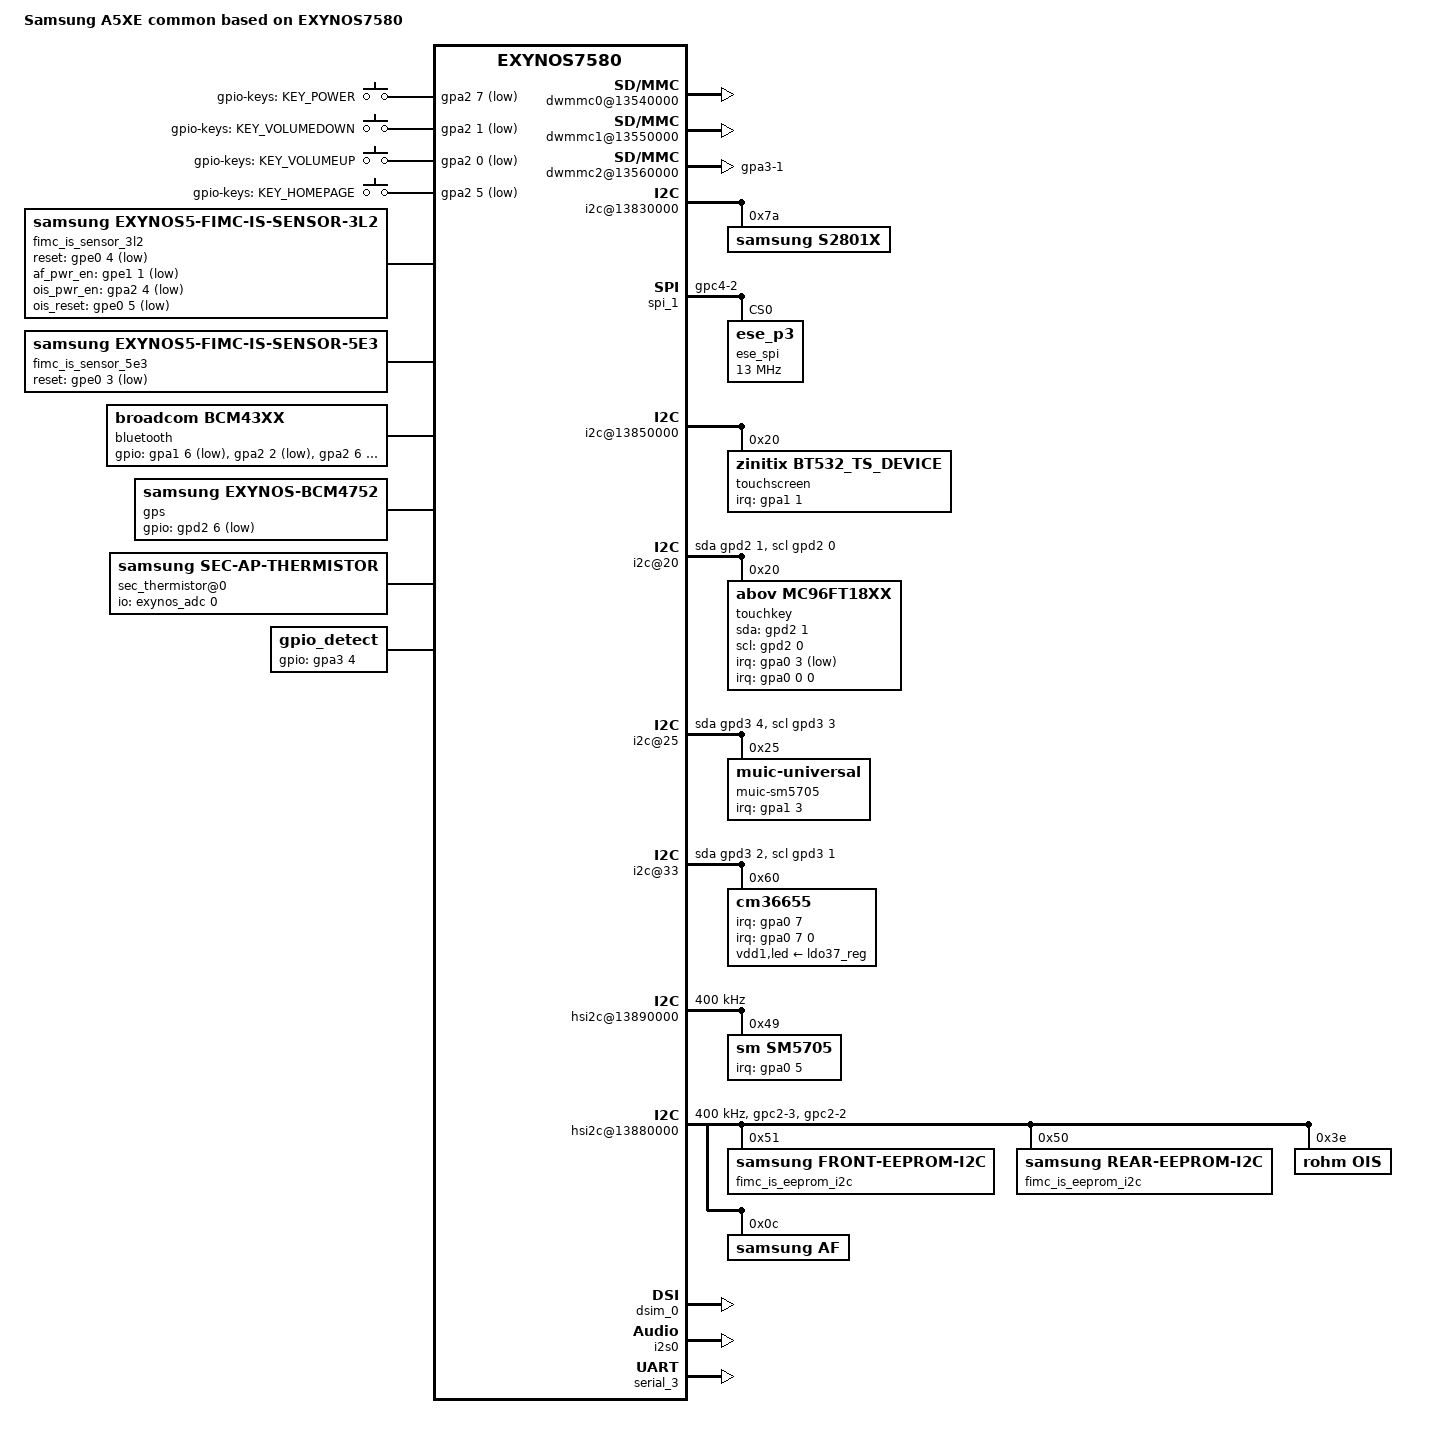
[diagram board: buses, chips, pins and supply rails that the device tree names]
/*
 * SAMSUNG A5XE board device tree source
 *
 * Copyright (c) 2014 Samsung Electronics Co., Ltd.
 *		http://www.samsung.com
 *
 * This program is free software; you can redistribute it and/or modify
 * it under the terms of the GNU General Public License version 2 as
 * published by the Free Software Foundation.
 */

#include "exynos7580.dtsi"

/ {
	model = "Samsung A5XE common based on EXYNOS7580";
	compatible = "samsung,exynos7580-universal7580,r01", "samsung,exynos7580";

	chosen {
		bootargs = "console=ttySAC1,115200n8 ess_setup=0x46000000 pmic_info=0x02";
		linux,initrd-start = <0x42000000>;
		linux,initrd-end = <0x421FFFFF>;
	};

	fixed-rate-clocks {
		oscclk {
			compatible = "samsung,exynos7580-oscclk";
			clock-frequency = <26000000>;
		};
	};

	dwmmc0@13540000 {
		status = "okay";
		num-slots = <1>;
		broken-cd;
		use-smu;
		fixed_volt;
		clock-gate;
		enable-cclk-on-suspend;
		only_once_tune;
		use-fine-tuning;
		ignore-phase = <(1 << 7)>;
		bypass-for-allpass;
		supports-highspeed;
		supports-hs200-mode;
		supports-ddr200-enhanced-strobe;
		supports-poweroff-notification;
		supports-ddr200-mode;
		enable-cache-control;
		use-enable-shift;
		enable-ulp-mode;
		desc-size = <4>;
		qos_int_level = <200000>;
		fifo-depth = <0x40>;
		card-detect-delay = <0>;
		data-timeout = <200>;
		samsung,dw-mshc-ciu-div = <3>;
		samsung,dw-mshc-sdr-timing = <3 0 2 0>;
		samsung,dw-mshc-ddr-timing = <3 0 2 2>;
		samsung,dw-mshc-hs200-timing = <3 0 3 0>;
		samsung,dw-mshc-ddr200-timing = <1 0 2 0>;
		samsung,dw-mshc-ddr200-ulp-timing = <3 0 3 0>;
		samsung,dw-mshc-ddr200-delay-line = <0x28>;
		samsung,dw-mshc-ddr200-tx-delay-line = <0x28>;
		samsung,dw-mshc-txdt-crc-timer-fastlimit = <0x34>;
		samsung,dw-mshc-txdt-crc-timer-initval = <0x38>;
		clk_pin = "gpr0-0";
		clk_addr = "13750000.pinctrl";
		clk_val = <0x2>;
		clk_str_num = <4>;
		num-ref-clks = <10>;
		ciu_clkin = <25 50 50 100 200 100 200 400 400 200>;
		pinctrl-names = "default";
		pinctrl-0 = <&sd0_clk &sd0_cmd &sd0_rdqs &sd0_bus1 &sd0_bus4 &sd0_bus8>;
		slot@0 {
			reg = <0>;
			bus-width = <8>;
		};
	};

	dwmmc1@13550000 {
		status = "okay";
		num-slots = <1>;
		channel = <1>;
		fixed_volt;
		clock-gate;
		enable-cclk-on-suspend;
		/* broken-cd; */
		caps-control;
		supports-highspeed;
		supports-sdr104-mode;
		keep-power-in-suspend;
		pm-ignore-notify;
		cd-type-external;
		use-broken-voltage;
		use-fine-tuning;
		ignore-phase = <(1 << 7)>;
		fifo-depth = <0x40>;
		card-detect-delay = <200>;
		qos_int_level = <468000>;
		samsung,dw-mshc-ciu-div = <3>;
		samsung,dw-mshc-sdr-timing = <3 0 2 1>;
		samsung,dw-mshc-ddr-timing = <3 0 2 1>;
		clk_pin = "gpr2-0";
		clk_addr = "13750000.pinctrl";
		clk_val = <0x2>;
		clk_str_num = <4>;
		num-ref-clks = <8>;
		ciu_clkin = <25 50 50 100 200 100 200 400>;
		pinctrl-names = "default";
		pinctrl-0 = <&sd1_clk &sd1_cmd &sd1_bus1 &sd1_bus4>;
		slot@0 {
			reg = <0>;
			bus-width = <4>;
		};
	};

	dwmmc2@13560000 {
		status = "okay";
		num-slots = <1>;
		supports-highspeed;
		enable-cclk-on-suspend;
		supports-sdr104-mode;
		bypass-smu;
		use-fine-tuning;
		clock-gate;
		fifo-depth = <0x40>;
		card-detect-delay = <400>;
		data-timeout = <200>;
		ignore-phase = <(1 << 7)>;
		bypass-for-allpass;
		desc-size = <4>;
		samsung,dw-mshc-ciu-div = <3>;
		samsung,dw-mshc-sdr-timing = <3 0 2 0>;
		samsung,dw-mshc-ddr-timing = <3 0 2 1>;
		clk_pin = "gpr4-0";
		clk_addr = "13750000.pinctrl";
		clk_val = <0x2>;
		clk_str_num = <4>;
		num-ref-clks = <8>;
		ciu_clkin = <25 50 50 100 200 100 200 400>;
		pinctrl-names = "default", "output";
		pinctrl-0 = <&sd2_clk &sd2_cmd &sd2_bus1 &sd2_bus4 &dwmmc2_cd_ext_irq>;
		pinctrl-1 = <&sd2_clk_output &sd2_cmd_output &sd2_bus1 &sd2_bus4 &dwmmc2_cd_ext_irq>;
		cd-type-gpio;
		gpio-controller;
		sec-sd-slot-type = <2>; /* Hybrid SD slot */
		#gpio-cells = <2>;
		cd-gpio = <&gpa3 1 0xf>;
		slot@0 {
			reg = <0>;
			bus-width = <4>;
			disable-wp;
		};
	};

	gpio_keys{
		compatible = "gpio-keys";
		pinctrl-names = "default";
		pinctrl-0 = <&gpa2_pull_up_univ>;

		button@1 {
			label = "gpio-keys: KEY_POWER";
			interrupt-parent = <&gpa2>;
			linux,code = <116>;
			gpios = <&gpa2 7 0xf>;
			gpio-key,wakeup = <1>;
		};
		button@2 {
			label = "gpio-keys: KEY_VOLUMEDOWN";
			interrupt-parent = <&gpa2>;
			linux,code = <114>;
			gpios = <&gpa2 1 0xf>;
		};
		button@3 {
			label = "gpio-keys: KEY_VOLUMEUP";
			interrupt-parent = <&gpa2>;
			linux,code = <115>;
			gpios = <&gpa2 0 0xf>;
		};
		button@4 {
			label = "gpio-keys: KEY_HOMEPAGE";
			interrupt-parent = <&gpa2>;
			linux,code = <172>;
			gpios = <&gpa2 5 0xf>;
			gpio-key,wakeup = <1>;
		};
	};

	pinctrl@13750000 {
		sd0_clk: sd0-clk {
			samsung,pin-drv = <3>;
		};
		sd0_bus1: sd0-bus-width1 {
			samsung,pin-drv = <3>;
		};
		sd0_bus4: sd0-bus-width4 {
			samsung,pin-drv = <3>;
		};
		sd0_bus8: sd0-bus-width8 {
			samsung,pin-drv = <3>;
		};
		sd1_bus1: sd1-bus-width1 {
			samsung,pin-pud = <3>;
		};
		sd1_bus4: sd1-bus-width4 {
			samsung,pin-pud = <3>;
		};
	};

	pinctrl@139B0000 {
		pmic_irq: pmic-irq {
			samsung,pins = "gpa0-2";
			samsung,pin-pud = <3>;
			samsung,pin-drv = <3>;
		};
		cfg_irq: cfg-irq {
			samsung,pins = "gpa0-3";
			samsung,pin-function = <0xf>;
			samsung,pin-pud = <0>;
			samsung,pin-drv = <0>;
		};
		cfg_input: cfg-input {
			samsung,pins = "gpa0-3";
			samsung,pin-function = <0>;
			samsung,pin-pud = <0>;
			samsung,pin-drv = <0>;
		};
		cod3022_irq: cod3022-irq {
			samsung,pins = "gpa0-4";
			samsung,pin-pud = <3>;
			samsung,pin-drv = <3>;
		};
		if_irq: if-irq {
			samsung,pins = "gpa0-5";
			samsung,pin-pud = <3>;
			samsung,pin-drv = <3>;
		};
		ps_als: ps_als {
			samsung,pins = "gpa0-7";
			samsung,pin-function = <0x0>;
			samsung,pin-pud = <0>;
			samsung,pin-drv = <0>;
		};
		muic_irq: muic-irq {
			samsung,pins = "gpa1-3";
			samsung,pin-pud = <0>;
			samsung,pin-drv = <0>;
		};
		attn_input: attn-input {
			samsung,pins = "gpa1-1";
			samsung,pin-function = <0>;
			samsung,pin-pud = <0>;
			samsung,pin-drv = <0>;
		};
		attn_irq: attn-irq {
			samsung,pins = "gpa1-1";
			samsung,pin-function = <0xf>;
			samsung,pin-pud = <0>;
			samsung,pin-drv = <0>;
		};
		sub_det: sub-det {
			samsung,pins = "gpa1-7";
			samsung,pin-function = <0>;
			samsung,pin-pud = <0>;
			samsung,pin-drv = <0>;
		};
		bhy_int: bhy-int {
			samsung,pins = "gpa3-0";
			samsung,pin-function = <0>;
			samsung,pin-pud = <1>;
			samsung,pin-drv = <0>;
		};
		dwmmc2_cd_ext_irq: dwmmc2_cd_ext_irq {
			samsung,pins = "gpa3-1";
			samsung,pin-function = <0xf>;
			samsung,pin-pud = <0>;
			samsung,pin-drv = <0>;
		};
		gpiodetect_irq: gpiodetect-irq {
			samsung,pins = "gpa3-4";
			samsung,pin-function = <0>;
			samsung,pin-pud = <0>;
			samsung,pin-drv = <0>;
		};
		certify_hall_irq: certify-hall-irq {
			samsung,pins = "gpa3-5";
			samsung,pin-function = <0xf>;
			samsung,pin-pud = <0>;
			samsung,pin-drv = <0>;
		};
		hall_irq: hall_irq {
			samsung,pins = "gpa3-6";
			samsung,pin-function = <0xf>;
			samsung,pin-pud = <0>;
			samsung,pin-drv = <0>;
		};
	};



	i2c@13830000 {
		samsung,i2c-sda-delay = <100>;
		samsung,i2c-max-bus-freq = <400000>;
		status = "okay";
		#address-cells = <1>;
		#size-cells = <0>;
		supports-bus-clear;

		s2801x: s2801x@7a {
			compatible = "samsung,s2801x";
			reg = <0x7a>;
			clocks = <&clock 154>,	/* sclk_audmixer */
				 <&clock 155>,	/* sclk_audmixer_bclk0*/
				 <&clock 156>,	/* sclk_audmixer_bclk1 */
				 <&clock 157>,	/* sclk_audmixer_bclk2 */
				 <&clock 152>,	/* bclk_mi2s */
				 <&clock 149>;	/* dout_audmixer*/

			clock-names = "audmixer_sysclk", "audmixer_bclk0",
					"audmixer_bclk1", "audmixer_bclk2",
					"mi2s_bclk", "audmixer_dout";
			sysreg-reset = <0x110F2000>;
			sysreg-i2c = <0x110F3000>;
			pinctrl-names = "default", "idle", "bt-idle";
			pinctrl-0 = <&i2s_pmic_bus
					&i2s2_codec_clk
					&pcm_bt_bus
					&pcm_bt1_bus>;
			pinctrl-1 = <&i2s_pmic_bus_idle
					&i2s2_codec_clk_idle
					&pcm_bt_bus_idle
					&pcm_bt1_bus_idle>;
			pinctrl-2 = <&i2s_pmic_bus
					&i2s2_codec_clk
					&pcm_bt_bus_idle
					&pcm_bt1_bus_idle>;
			samsung,lpass-subip;
		};
	};

	pinctrl@138D0000 {
		/delete-node/ bt_en;
		ese_cs_func: ese-cs-func {
			samsung,pins ="gpc4-2";
			samsung,pin-function = <1>;
			samsung,pin-pud = <3>;
			samsung,pin-drv = <0>;
		};
	};

	spi_1: spi@13920000 {
		status = "okay";
		#address-cells = <1>;
		#size-cells = <0>;
		pinctrl-names = "default";
		pinctrl-0 = <&spi1_bus &ese_cs_func>;

		ese_spi@0 {
			compatible = "ese_p3";
			reg = <0>;
			spi-max-frequency = <13000000>;

			gpio-controller;
			#gpio-cells = <2>;

			p3-ese_pwr_req = <&gpd1 6 1>;

			controller-data {
				samsung,spi-feedback-delay = <0>;
				samsung,spi-chip-select-mode = <0>;
				cs-gpio = <&gpc4 2 0>;
			};
		};
	};

	i2c@13850000 {
		samsung,i2c-sda-delay = <100>;
		samsung,i2c-max-bus-freq = <400000>;
		status = "okay";
		touchscreen@20 {
			compatible = "zinitix,bt532_ts_device";
			reg = <0x20>;
			pinctrl-names = "on_state", "off_state";
			pinctrl-0 = <&attn_irq>;
			pinctrl-1 = <&attn_input>;
			zinitix,irq_gpio = <&gpa1 1 0>;
			zinitix,gpio_ldo_en;
			zinitix,regulator_avdd = "tsp_avdd";
			//zinitix,regulator_tkled = "KEY_LED_3P3";
			zinitix,x_resolution = <1080>;
			zinitix,y_resolution = <1920>;
			zinitix,page_size = <128>;
			zinitix,orientation = <0>;
			zinitix,chip_name = "ZT7538";
			zinitix,firmware_name = "tsp_zinitix/zt7538_a5x.fw";
			//zinitix,touchkey = "true";
			zinitix,spay = "true";
		};
	};

	i2c@20 {
		compatible = "i2c-gpio";
		gpios = <&gpd2 1 0
				&gpd2 0 0>;
		i2c-gpio,delay-us = <2>;
		#address-cells = <1>;
		#size-cells = <0>;
		status = "okay";
		pinctrl-names = "default","on_i2c","off_i2c";
		pinctrl-0 = <&cfg_i2c>;
		pinctrl-1 = <&cfg_i2c>;
		pinctrl-2 = <&cfg_gpio>;
		touchkey@20 {
			compatible = "abov,mc96ft18xx";
			pinctrl-names = "on_irq","off_irq","sub_det";
			pinctrl-0 = <&cfg_irq>;
			pinctrl-1 = <&cfg_input>;
			pinctrl-2 = <&sub_det>;
			reg = <0x20>;
			interrupts = <0 0 0>;
			interrupt-parent = <&gpa0>;
			abov,sda-gpio = <&gpd2 1 0>;
			abov,scl-gpio = <&gpd2 0 0>;
			abov,irq-gpio = <&gpa0 3 1>;
			abov,sub-det = <&gpa1 7 0>;
			abov,fw_path = "abov/abov_a5.fw";
			abov,boot-on-ldo = "true";
		};
	};

	i2c@25 {
		compatible = "i2c-gpio";
		gpios = <&gpd3 4 0
			&gpd3 3 0>;
		i2c-gpio,delay-us = <5>;
		#address-cells = <1>;
		#size-cells = <0>;
		status = "okay";

		muic-sm5705@25 {
			compatible = "muic-universal";
			reg = <0x25>;
			pinctrl-names = "default";
			pinctrl-0 = <&muic_irq>;
			muic-universal,chip_name = "sm,sm5705";
			muic-universal,irq-gpio = <&gpa1 3 0>;
			muic-universal,wakeup;
		};
	};

	muic {
		status = "okay";
		muic,support-list = "+OTG:GND",
					"-MHL:1K",
					"-VZW Accessory:28.7K",
					"-VZW Incompatible:34K",
					"-Smartdock:40.2K",
					"+HMT:49.9K",
					"-Audiodock:64.9K",
					"-USB LANHUB:80.07K",
					"+Charging Cable:102K",
					"-Universal Multimedia dock:121K",
					"+Jig USB Off:255K",
					"+Jig USB On:301K",
					"+Deskdock:365K",
					"+TYPE2 Charger:442K",
					"+Jig UART Off:523K",
					"+Jig UART On:619K",
					"+TA:OPEN",
					"+USB:OPEN",
					"+CDP:OPEN",
					"+Undefined Charging:XXX";
	};

	i2c@33 {
		compatible = "i2c-gpio";
		gpios = <&gpd3 2 0 	/* sda */
			&gpd3 1 0>;	/* scl */

		pinctrl-names = "default";
		pinctrl-0 = <&optical>;
		samsung,i2c-sda-delay = <100>;
		samsung,i2c-max-bus-freq = <400000>;
		#address-cells = <1>;
		#size-cells = <0>;
		status = "okay";

		cm36655@60 {
			compatible = "cm36655";
			reg = <0x60>;
			pinctrl-names = "dafault";
			pinctrl-0 = <&ps_als &leden_gpio>;
			vdd1-supply = <&ldo37_reg>;
			interrupt-parent = <&gpa0>;
			interrupts = <7 0 0>;
			cm36655,led-supply = <&ldo37_reg>;
			cm36655,irq_gpio = <&gpa0 7 0x00>;
			cm36655,default_hi_thd = <17>;
			cm36655,default_low_thd = <13>;
			cm36655,cancel_hi_thd = <10>;
			cm36655,cancel_low_thd = <7>;
			cm36655,trim = <0x0003>;
		};
	};



	but_zones: but_zones {
		#list-but-cells = <3>;
	};

	pinctrl@139C0000 {
		fled_flash_sleep: fled-flash-sleep {
			samsung,pins = "gpe0-2", "gpe0-1";
			samsung,pin-function = <2>;
			samsung,pin-pud = <1>;
			samsung,pin-drv = <3>;
		};
		fled_flash_active: fled-flash-active {
			samsung,pins = "gpe0-2", "gpe0-1";
			samsung,pin-function = <1>;
			samsung,pin-pud = <1>;
			samsung,pin-drv = <0>;
		};
	};

	hsi2c@13890000 {
		status = "okay";
		clock-frequency = <400000>;

		sm5705@49 {
			status = "okay";
			compatible = "sm,sm5705";
			reg = <0x49>;
			pinctrl-names = "default","fled_default","fled_sleep";
			pinctrl-0 = <&if_irq &chg_en>;
			pinctrl-1 = <&fled_flash_active &if_irq &chg_en>;
			pinctrl-2 = <&fled_flash_sleep &if_irq &chg_en>;
			sm5705,irq-gpio = <&gpa0 5 0>;
			sm5705,wakeup;

			flash {
				status = "okay";
				led1 {
					ledname = "leds-sm5705-fled0";
					id = <0>;
					flash-mode-current-mA = <1000>;
					torch-mode-current-mA = <150>;
					used-gpio-control = <1>;
					flash-en-gpio = <&gpe0 2 0x00>;
					torch-en-gpio = <&gpe0 1 0x00>;
				};

				led2 {
					ledname = "leds-sm5705-fled1";
					id = <1>;
					flash-mode-current-mA = <0>;
					torch-mode-current-mA = <0>;
					used-gpio-control = <0>;
				};
			};
		};
	};

	pinctrl@139C0000 {
		hs_i2c1_bus_off: hs-i2c1-bus-off {
			samsung,pins = "gpc2-3", "gpc2-2";
			samsung,pin-function = <2>;
			samsung,pin-pud = <0>;
			samsung,pin-drv = <0>;
		};
	};

	hsi2c@13880000 {
		status = "okay";
		clock-frequency = <400000>;
		pinctrl-names = "default";
		pinctrl-0 = <&hs_i2c1_bus_off>;
		fimc_is_eeprom_i2c@51{
			compatible = "samsung,front-eeprom-i2c";
			reg = <0x51>;
			use_i2c_pinctrl;
			fimc_is_front_eeprom_pinname = "139c0000.pinctrl"; /* it must be lowercase letters */
			fimc_is_front_eeprom_sda = "gpc2-2";
			fimc_is_front_eeprom_scl = "gpc2-3";
			pinfunc_on = <2>;
			pinfunc_off = <0>;
		};

		fimc_is_eeprom_i2c@50 {
			compatible = "samsung,rear-eeprom-i2c";
			reg = <0x50>;
			use_i2c_pinctrl;
			fimc_is_rear_eeprom_pinname = "139c0000.pinctrl"; /* it must be lowercase letters */
			fimc_is_rear_eeprom_sda = "gpc2-2";
			fimc_is_rear_eeprom_scl = "gpc2-3";
			pinfunc_on = <2>;
			pinfunc_off = <0>;
		};

		ois@3E{
			compatible = "rohm,ois";
			reg = <0x3E>;
			use_i2c_pinctrl;
			use_reload_ois_fw; /* download ois firmware everytime */
			fimc_is_ois_pinname = "139c0000.pinctrl"; /* it must be lowercase letters */
			fimc_is_ois_sda = "gpc2-2";
			fimc_is_ois_scl = "gpc2-3";
			fimc_is_ois_reset = "gpe0-5";
			pinfunc_on = <2>;
			pinfunc_off = <0>;
		};

		af@0c{
			compatible = "samsung,af";
			reg = <0x0c>;
			use_i2c_pinctrl;
			fimc_is_af_pinname = "139c0000.pinctrl"; /* it must be lowercase letters */
			fimc_is_af_sda = "gpc2-2";
			fimc_is_af_scl = "gpc2-3";
			pinfunc_on = <2>;
			pinfunc_off = <0>;
		};
	};

	fimc_is_sensor_3l2: fimc-is_sensor_3l2@0 {
		compatible = "samsung,exynos5-fimc-is-sensor-3l2";

		pinctrl-names = "pin0", "pin1";
		pinctrl-0 = <&fimc_is_mclk0_fn &fimc_is_i2c0 &fimc_is_i2c1>; /* rear on */
		pinctrl-1 = <&fimc_is_mclk0_in>; /* rear off */

		position = <0>; /* Rear:0. Front:1 */
		id = <0>; /* bns_id */
		mclk_ch = <0>;
		sensor_i2c_ch = <0>; /* I2C 0 */
		sensor_i2c_addr = <0x5A>;

		gpio_reset = <&gpe0 4 0x1>; /* sensor reset */
		gpio_af_pwr_en = <&gpe1 1 0x1>; /* af power en */
		gpio_ois_pwr_en = <&gpa2 4 0x1>; /* ois power en */
		gpio_ois_reset = <&gpe0 5 0x1>; /* ois reset */
		status = "okay";

		af {
			product_name = <12>; /* AK7371 */
			i2c_addr = <0x18>;
			i2c_ch = <1>; /* I2C 1 */
		};

		flash {
			product_name = <11>; /* GPIO */
			flash_first_gpio = <2>;
			flash_second_gpio = <1>;
		};

		ois {
			product_name = <2>; /* BU24219 */
			i2c_addr = <0x7C>; /*0x3E << 1 : 8bit */
			i2c_ch = <1>; /* I2C 1 */
		};
	};

	fimc_is_sensor_5e3: fimc-is_sensor_5e3@0 {
		compatible = "samsung,exynos5-fimc-is-sensor-5e3";

		pinctrl-names = "pin0", "pin1";
		pinctrl-0 = <&fimc_is_mclk1_fn &fimc_is_i2c1>; /* front on */
		pinctrl-1 = <&fimc_is_mclk1_in>; /* front off */

		position = <1>; /* Rear:0. Front:1 */
		id = <1>; /* bns_id */
		mclk_ch = <1>;
		sensor_i2c_ch = <1>;
		sensor_i2c_addr = <0x0>;

		gpio_reset = <&gpe0 3 0x1>;
		status = "okay";
	};


	fimc_is_sensor0: fimc_is_sensor@144a0000 {
		scenario = <0>;
		id = <0>;
		mclk_ch = <0>;
		csi_ch = <0>;
		flite_ch = <0>;
		i2c_ch = <0>;
		i2c_addr = <0x0>;
		is_bns = <1>;
		status = "okay";
	};

	fimc_is_sensor1: fimc_is_sensor@144b0000 {
		scenario = <0>;
		id = <1>;
		mclk_ch = <1>;
		csi_ch = <1>;
		flite_ch = <1>;
		i2c_ch = <1>;
		i2c_addr = <0x0>;
		is_bns = <0>;
		status = "okay";
	};

	fimc_is@14400000 {
		rear_sensor_id = <8>; /* SENSOR_NAME_S5K3L2 */
		front_sensor_id = <17>; /* SENSOR_NAME_S5K5E3 */
		use_module_check;
		use_ois_hsi2c;
		use_ois;

		total_camera_num = <2>;
		camera_info0 {				// 0 : rear
			isp = <0>;			/* 0 : INT , 1 : EXT , 2 : SOC */
			cal_memory = <2>;		/* 0 : N , 1 : FROM , 2 : EEPROM , 3 : OTP  */
			read_version = <0>;		/* 0 : SYSFS , 1 : CAMON */
			core_voltage = <0>;		/* 0 : N , 1 : Y  */
			upgrade = <0>;			/* 0 : N , 1 : SYSFS , 2 : CAMON */
			companion = <0>;		/* 0 : N , 1 : Y  */
			ois = <1>;				/* 0 : N , 1 : Y  */
		};
		camera_info1 {				// 1 : front
			isp = <0>;			/* 0 : INT , 1 : EXT , 2 : SOC */
			cal_memory = <2>;		/* 0 : N , 1 : FROM , 2 : EEPROM , 3 : OTP  */
			read_version = <0>;		/* 0 : SYSFS , 1 : CAMON */
			core_voltage = <0>;		/* 0 : N , 1 : Y  */
			upgrade = <0>;			/* 0 : N , 1 : SYSFS , 2 : CAMON */
			companion = <0>;		/* 0 : N , 1 : Y  */
			ois = <0>;			/* 0 : N , 1 : Y  */
		};

		#define DVFS_INT_L0 400000
		#define DVFS_INT_L1 334000
		#define DVFS_INT_L2 267000
		#define DVFS_INT_L3 200000
		#define DVFS_INT_L4 160000
		#define DVFS_INT_L5 134000
		#define DVFS_INT_L6 111000
		#define DVFS_INT_L7 100000

		#define DVFS_CAM_L0 530000
		#define DVFS_CAM_L1 430000
		#define DVFS_CAM_L2 400000
		#define DVFS_CAM_L3 334000
		#define DVFS_CAM_L4 267000
		#define DVFS_CAM_L5 200000

		#define DVFS_MIF_L0 825000
		#define DVFS_MIF_L1 728000
		#define DVFS_MIF_L2 667000
		#define DVFS_MIF_L3 559000
		#define DVFS_MIF_L4 416000
		#define DVFS_MIF_L5 338000
		#define DVFS_MIF_L6 273000
		#define DVFS_MIF_L7 200000

		fimc_is_dvfs {
			default_int = <DVFS_INT_L0>;
			default_cam = <DVFS_CAM_L0>;
			default_mif = <DVFS_MIF_L0>;
			default_i2c = <0>;

			front_preview_int = <DVFS_INT_L3>;
			front_preview_cam = <DVFS_CAM_L4>;
			front_preview_mif = <DVFS_MIF_L3>;
			front_preview_i2c = <0>;

			front_capture_int = <DVFS_INT_L3>;
			front_capture_cam = <DVFS_CAM_L4>;
			front_capture_mif = <DVFS_MIF_L3>;
			front_capture_i2c = <0>;

			front_video_int = <DVFS_INT_L3>;
			front_video_cam = <DVFS_CAM_L4>;
			front_video_mif = <DVFS_MIF_L3>;
			front_video_i2c = <0>;

			front_video_whd_int = <DVFS_INT_L3>;
			front_video_whd_cam = <DVFS_CAM_L4>;
			front_video_whd_mif = <DVFS_MIF_L3>;
			front_video_whd_i2c = <0>;

			front_video_capture_int = <DVFS_INT_L3>;
			front_video_capture_cam = <DVFS_CAM_L4>;
			front_video_capture_mif = <DVFS_MIF_L3>;
			front_video_capture_i2c = <0>;

			front_video_whd_capture_int = <DVFS_INT_L0>;
			front_video_whd_capture_cam = <DVFS_CAM_L0>;
			front_video_whd_capture_mif = <DVFS_MIF_L0>;
			front_video_whd_capture_i2c = <0>;

			front_vt1_int = <DVFS_INT_L3>;
			front_vt1_cam = <DVFS_CAM_L4>;
			front_vt1_mif = <DVFS_MIF_L3>;
			front_vt1_i2c = <0>;

			front_vt2_int = <DVFS_INT_L3>;
			front_vt2_cam = <DVFS_CAM_L4>;
			front_vt2_mif = <DVFS_MIF_L3>;
			front_vt2_i2c = <0>;

			rear_preview_fhd_int = <DVFS_INT_L3>;
			rear_preview_fhd_cam = <DVFS_CAM_L2>;
			rear_preview_fhd_mif = <DVFS_MIF_L2>;
			rear_preview_fhd_i2c = <0>;

			rear_preview_whd_int = <DVFS_INT_L0>;
			rear_preview_whd_cam = <DVFS_CAM_L0>;
			rear_preview_whd_mif = <DVFS_MIF_L0>;
			rear_preview_whd_i2c = <0>;

			rear_preview_uhd_int = <DVFS_INT_L0>;
			rear_preview_uhd_cam = <DVFS_CAM_L0>;
			rear_preview_uhd_mif = <DVFS_MIF_L0>;
			rear_preview_uhd_i2c = <0>;

			rear_capture_int = <DVFS_INT_L3>;
			rear_capture_cam = <DVFS_CAM_L2>;
			rear_capture_mif = <DVFS_MIF_L2>;
			rear_capture_i2c = <0>;

			rear_video_fhd_int = <DVFS_INT_L3>;
			rear_video_fhd_cam = <DVFS_CAM_L2>;
			rear_video_fhd_mif = <DVFS_MIF_L2>;
			rear_video_fhd_i2c = <0>;

			rear_video_uhd_int = <DVFS_INT_L0>;
			rear_video_uhd_cam = <DVFS_CAM_L0>;
			rear_video_uhd_mif = <DVFS_MIF_L0>;
			rear_video_uhd_i2c = <0>;

			rear_video_fhd_capture_int = <DVFS_INT_L3>;
			rear_video_fhd_capture_cam = <DVFS_CAM_L2>;
			rear_video_fhd_capture_mif = <DVFS_MIF_L2>;
			rear_video_fhd_capture_i2c = <0>;

			rear_video_uhd_capture_int = <DVFS_INT_L0>;
			rear_video_uhd_capture_cam = <DVFS_CAM_L0>;
			rear_video_uhd_capture_mif = <DVFS_MIF_L0>;
			rear_video_uhd_capture_i2c = <0>;

			dual_preview_int = <DVFS_INT_L0>;
			dual_preview_cam = <DVFS_CAM_L0>;
			dual_preview_mif = <DVFS_MIF_L0>;
			dual_preview_i2c = <0>;

			dual_capture_int = <DVFS_INT_L0>;
			dual_capture_cam = <DVFS_CAM_L0>;
			dual_capture_mif = <DVFS_MIF_L0>;
			dual_capture_i2c = <0>;

			dual_video_int = <DVFS_INT_L0>;
			dual_video_cam = <DVFS_CAM_L0>;
			dual_video_mif = <DVFS_MIF_L0>;
			dual_video_i2c = <0>;

			dual_video_capture_int = <DVFS_INT_L0>;
			dual_video_capture_cam = <DVFS_CAM_L0>;
			dual_video_capture_mif = <DVFS_MIF_L0>;
			dual_video_capture_i2c = <0>;

			preview_high_speed_fps_int = <DVFS_INT_L0>;
			preview_high_speed_fps_cam = <DVFS_CAM_L0>;
			preview_high_speed_fps_mif = <DVFS_MIF_L0>;
			preview_high_speed_fps_i2c = <0>;

			video_high_speed_60fps_int = <DVFS_INT_L3>;
			video_high_speed_60fps_cam = <DVFS_CAM_L2>;
			video_high_speed_60fps_mif = <DVFS_MIF_L2>;
			video_high_speed_60fps_i2c = <0>;

			video_high_speed_120fps_int = <DVFS_INT_L3>;
			video_high_speed_120fps_cam = <DVFS_CAM_L4>;
			video_high_speed_120fps_mif = <DVFS_MIF_L3>;
			video_high_speed_120fps_i2c = <0>;

			max_int = <DVFS_INT_L0>;
			max_cam = <DVFS_CAM_L0>;
			max_mif = <DVFS_MIF_L0>;
			max_i2c = <0>;
		};
	};


	ion {
		compatible = "samsung,exynos5430-ion";
	};

	pinctrl@139C0000 {
		disp_pcd: disp_pcd {
			samsung,pins = "gpd2-4";
			samsung,pin-function = <0xf>;
		};
		disp_pcd_off: disp_pcd_off {
			samsung,pins = "gpd2-4";
			samsung,pin-function = <1>;
			samsung,pin-val = <0>;
		};
	};

	decon_fb@14830000 {
		/* XEINT7, GPIO & pin control */
		gpios = <&gpd0 7 0xf>;
		psr_mode = <2>;		/* 0: video mode, 1: DP command mode, 2: MIPI command mode */
		disp-pll-clk = <142000000>;
		/* gpio_err = <&gpa3 7 0x2>; */
		gpio_pcd = <&gpd2 4 0x1>;
		/* gpio_det = <&gpa0 6 0x1>; */
		/* gpio_id = <&gpa3 2 0>; */
		status = "okay";
	};

	dsim_0: dsim@14800000 {
		lcd_info = <&s6e3fa3>;
		decon_board = <&decon_board_list>;
		status = "okay";
	};

	decon_board_list: decon_board_list {
		dsim_set_panel_power_enable {
			type = "regulator,enable", "regulator,enable", "delay,usleep", "pinctrl,turnon_tes";
			delay = <10000 11000>;
			regulator = "LCD_1P8", "LCD_3P0";
		};
		dsim_set_panel_power_disable {
			type = "pinctrl,turnoff_tes", "gpio,low", "regulator,disable", "regulator,disable";
			gpios = <&gpd1 3 0x1>;
			regulator = "LCD_3P0", "LCD_1P8";
		};
		dsim_reset_panel {
			type = "gpio,high", "delay,usleep", "gpio,low", "delay,usleep", "gpio,high", "delay,usleep";
			gpios = <&gpd1 3 0x1>, <&gpd1 3 0x1>, <&gpd1 3 0x1>;
			delay = <5000 6000>, <5000 6000>, <10000 11000>;
		};
	};

	pinctrl@139C0000 {
		disp_pcd: disp_pcd {
			samsung,pins = "gpd2-4";
			samsung,pin-function = <0xf>;
		};
		disp_pcd_off: disp_pcd_off {
			samsung,pins = "gpd2-4";
			samsung,pin-function = <1>;
			samsung,pin-val = <0>;
		};
	};

	s6e3fa3: s6e3fa3_fhd {
		mode = <2>;
		resolution = <1080 1920>;
		size = <65 115>;
		timing,refresh = <60>;
		timing,h-porch = <1 1 1>;
		timing,v-porch = <12 1 1>;
		timing,dsi-hs-clk = <1024>;
		timing,dsi-escape-clk = <16>;
		mic = <0>;

		pinctrl-names = "off", "on";
		pinctrl-0 = <&disp_pcd_off>;
		pinctrl-1 = <&disp_pcd>;
	};

	i2s0: i2s@11040000 {
		status = "okay";
	};

	audio_cp_dummy: cp_dummy {
		compatible = "samsung,cp_dummy";
		status = "okay";
	};

	audio_bt_dummy: bt_dummy {
		compatible = "samsung,bt_dummy";
		status = "okay";
	};

	audio_fm_dummy: fm_dummy {
		compatible = "samsung,fm_dummy";
		status = "okay";
	};

	audio_codec_dummy: dummy-codec {
		compatible = "samsung,dummy-codec";
		status = "okay";
	};

	sound {
		compatible = "samsung,universal7580-cod3022x";
		samsung,audio-cpu = <&i2s0	/* primary */
					&i2s0	/* secondary */
					&audio_cp_dummy
					&audio_bt_dummy
					&audio_fm_dummy
					&eax
					&eax>;
		samsung,audio-codec = <&audio_codec_cod3022x
					&audio_codec_cod3022x
					&audio_codec_cod3022x
					&audio_codec_dummy
					&audio_codec_cod3022x
					&audio_codec_cod3022x
					&audio_codec_cod3022x>;
		samsung,auxdev = <&s2801x>;
		clocks = <&clock 151>;		 /* sclk_i2s */
		clock-names = "codec_bclk";
		mic-bias-mode = <1 2 1>;
		pinctrl-names = "default";
		status = "okay";
	};

	usb_notifier {
		compatible = "samsung,usb-notifier";
	};

	sec_vib {
		compatible = "sec_vib";
		sec_vib_pdata {
			status = "okay";
			sec_vib,max_timeout = <10000>;
			sec_vib,regulator = "VDD_MOTOR_3P3";
		};
	};

	serial_2: uart@13820000 {
		status = "disabled";
	};

	serial_3: uart@11060000 {
		/* Enable AUD-UART for Bluetooth */
		pinctrl-0 = <&uart_bt_active &uart_bt_output_sleep &uart_bt_input_sleep>;
		status = "okay";
	};

	pinctrl@139B0000 {
		bt_enable: bt_enable {
			samsung,pins = "gpa1-6";
			samsung,pin-function = <1>;
			samsung,pin-pud = <0>;
		};
	};

	bluetooth {
		compatible = "broadcom,bcm43xx";
		gpios = <&gpa1 6 0x1	/*BT_EN*/
				&gpa2 2 0x1	/*BT_WAKE*/
				&gpa2 6 0xF	/*BT_HOST_WAKE*/ >;
		pinctrl-names = "default";
		pinctrl-0=<&bt_hostwake &bt_btwake &bt_enable>;
		status = "okay";
	};

	hall {
		compatible = "hall";
		pinctrl-names = "default";
		pinctrl-0 = <&hall_irq>;
		hall,gpio_flip_cover = <&gpa3 6 0x0>;
		status = "okay";
	};

	certify_hall {
		status = "okay";
		compatible = "certify_hall";
		pinctrl-names = "default";
		pinctrl-0 = <&certify_hall_irq>;
		certify_hall,gpio_certify_cover = <&gpa3 5 0x0>;
	};

	input_booster {
		status = "okay";
		compatible = "input_booster";
		#address-cells = <1>;
		#size-cells = <0>;

		booster_key@1 {
			input_booster,label = "KEY";
			input_booster,type = <0>;	/* BOOSTER_DEVICE_KEY */

			input_booster,levels = <1>;

			/* Frequency table */
			/* for level	:	1_Head */
			input_booster,cpu_freqs = <1200000>;
			input_booster,hmp_boost = <0>;
			input_booster,kfc_freqs = <1200000>;
			input_booster,mif_freqs = <0>;
			input_booster,int_freqs = <0>;

			/* Time table */
			input_booster,head_times = <500>;
			input_booster,tail_times = <500>;
			input_booster,phase_times = <0>;
		};
		booster_key@2 {
			input_booster,label = "TOUCHKEY";
			input_booster,type = <1>;	/* BOOSTER_DEVICE_TOUCHKEY */

			input_booster,levels = <1>;

			/* Frequency table */
			/* for level	:	1_Head */
			input_booster,cpu_freqs = <1200000>;
			input_booster,hmp_boost = <0>;
			input_booster,kfc_freqs = <1200000>;
			input_booster,mif_freqs = <0>;
			input_booster,int_freqs = <0>;

			/* Time table */
			input_booster,head_times = <0>;
			input_booster,tail_times = <200>;
			input_booster,phase_times = <0>;
		};
		booster_key@3 {
			input_booster,label = "TOUCH";
			input_booster,type = <2>;	/* BOOSTER_DEVICE_TOUCH */

			input_booster,levels = <1 2 3>;

			/* Frequency table */
			/* for level	:	1_Head, 2_Head, 2_Tail */
			input_booster,cpu_freqs = <1200000 1200000 1000000>;
			input_booster,hmp_boost = <0 0 0>;
			input_booster,kfc_freqs = <1200000 1200000 1000000>;
			input_booster,mif_freqs = <0 0 0>;
			input_booster,int_freqs = <0 0 0>;

			/* Time table */
			input_booster,head_times = <200 200 0>;
			input_booster,tail_times = <300 300 0>;
			input_booster,phase_times = <0 0 0>;
		};
		booster_key@4 { // Input Booster +
			input_booster,label = "MULTITOUCH";
			input_booster,type = <3>;	/* BOOSTER_DEVICE_MULTITOUCH */

			input_booster,levels = <1 2>;

			/* Frequency table */
			/* for level	:	1_Head 2_Tail*/
			input_booster,cpu_freqs = <1400000 1000000>;
			input_booster,hmp_boost = <0 0>;
			input_booster,kfc_freqs = <1400000 1000000>;
			input_booster,mif_freqs = <0 0>;
			input_booster,int_freqs = <0 0>;

			/* Time table */
			input_booster,head_times = <1000 1000>;
			input_booster,tail_times = <500 500>;
			input_booster,phase_times = <0 0>;
		};
		booster_key@5 {
			input_booster,label = "KEYBOARD";
			input_booster,type = <4>;	/* BOOSTER_DEVICE_KEYBOARD */

			input_booster,levels = <1 2>;

			/* Frequency table */
			/* for level	:	1_Head 2_Tail*/
			input_booster,cpu_freqs = <1200000 1200000>;
			input_booster,hmp_boost = <0 0>;
			input_booster,kfc_freqs = <1200000 1200000>;
			input_booster,mif_freqs = <0 0>;
			input_booster,int_freqs = <0 0>;

			/* Time table */
			input_booster,head_times = <130 130>;
			input_booster,tail_times = <0 0>;
			input_booster,phase_times = <0 0>;
		};
		booster_key@6 {
			input_booster,label = "MOUSE";
			input_booster,type = <5>;	/* BOOSTER_DEVICE_MOUSE */

			input_booster,levels = <1 2>;

			/* Frequency table */
			/* for level	:	1_Head 2_Tail*/
			input_booster,cpu_freqs = <1200000 1000000>;
			input_booster,hmp_boost = <0 0>;
			input_booster,kfc_freqs = <1200000 1000000>;
			input_booster,mif_freqs = <0 0>;
			input_booster,int_freqs = <0 0>;

			/* Time table */
			input_booster,head_times = <130 130>;
			input_booster,tail_times = <500 500>;
			input_booster,phase_times = <0 0>;
		};
		booster_key@7 {
			input_booster,label = "MOUSE WHEEL";
			input_booster,type = <6>;	/* BOOSTER_DEVICE_MOUSE */

			input_booster,levels = <1 2>;

			/* Frequency table */
			/* for level	:	1_Head 2_Tail*/
			input_booster,cpu_freqs = <1200000 0>;
			input_booster,hmp_boost = <0 0>;
			input_booster,kfc_freqs = <1200000 0>;
			input_booster,mif_freqs = <0 0>;
			input_booster,int_freqs = <0 0>;

			/* Time table */
			input_booster,head_times = <130 0>;
			input_booster,tail_times = <0 0>;
			input_booster,phase_times = <0 0>;
		};
		booster_key@8 {
			input_booster,label = "PEN & HOVER";
			input_booster,type = <7>;	/* BOOSTER_DEVICE_PEN & HOVER */

			input_booster,levels = <1 2>;

			/* Frequency table */
			/* for level	:	1_Head 2_Tail*/
			input_booster,cpu_freqs = <1200000 1000000>;
			input_booster,hmp_boost = <0 0>;
			input_booster,kfc_freqs = <1200000 1000000>;
			input_booster,mif_freqs = <0 0>;
			input_booster,int_freqs = <0 0>;

			/* Time table */
			input_booster,head_times = <130 130>;
			input_booster,tail_times = <500 500>;
			input_booster,phase_times = <0 0>;
		};
		booster_key@9 {
			input_booster,label = "GAMEPAD";
			input_booster,type = <8>;	/* BOOSTER_DEVICE_GAMEPAD */

			input_booster,levels = <1 2>;

			/* Frequency table */
			/* for level	:	1_Head 2_Tail*/
			input_booster,cpu_freqs = <1400000 1000000>;
			input_booster,hmp_boost = <0 0>;
			input_booster,kfc_freqs = <1400000 1000000>;
			input_booster,mif_freqs = <0 0>;
			input_booster,int_freqs = <0 0>;

			/* Time table */
			input_booster,head_times = <130 130>;
			input_booster,tail_times = <500 500>;
			input_booster,phase_times = <0 0>;
		}; // Input Booster -
		/* If you need to add new key type, add it this position */
	};


	uart@13800000 {
		pinctrl-0 = <&uart0_rts &uart0_cts &uart0_tx &uart0_rx>;
	};

	gps {
		compatible = "samsung,exynos-bcm4752";
		gpios = <&gpd2 6 0x1>;
		status = "okay";
	};

	argos {
		compatible = "samsung,argos";
		#address-cells = <1>;
		/*  The device number should be assigned for each device, e.g. "boot_device@1" and "boot_device@2".
		    Duplicated number is not allowed. Please refer the below example. */

		/* Table Format should be
		 * <Throughput(Mbps) ARM_min ARM_max KFC_min KFC_max MIF INT Task IRQ>
		 * ARM_min : Big Core's minimum frequency lock. 0 means not set,
		 * ARM_max : Big Core's maximum frequency lock. 0 means not set,
		 * KFC_min : Little Core's minimum frequency lock. 0 means not set,
		 * KFC_max : Little Core's maximum frequency lock. 0 means not set,
		 * MIF : MIF frequency lock. 0 means not set,
		 * INT : INT frequency lock. 0 means not set,
		 * Task : 1 - Set task affinity lock.
		 *        0 - Not set or unlock,
		 *              Task affinity should be predefined driver's code.
		 * IRQ : 1 - Set irq affinity lock.
		 *       0 - Not set or unlock,
		 *              Task affinity should be predefined driver's code.
		 */
		boot_device@1 {
			net_boost,label="IPC";
			net_boost,node="rmnet0 rmnet1 rmnet2 rmnet3 rmnet4 rmnet5 rmnet6 rmnet7 umts_dm0";
			net_boost,table_size = <4>;
			net_boost,table= <  1 0 0 0 0 0 0 0 1
					   20 0 0 800000 0 416000 100000 0 1
					   50 0 0 1000000 0 825000 100000 0 1
					  100 0 0 1400000 0 825000 100000 0 1>;
		};
		 boot_device@2 {
			net_boost,label="P2P";
			net_boost,node="p2p-wlan0-0";
			net_boost,table_size = <3>;
			net_boost,table= <
				30 1200000 0 1200000 0 200000 0 0 0
				50 1500000 0 1500000 0 416000 100000 0 0
				90 1600000 0 1600000 0 825000 100000 1 1
				>;
		};
		boot_device@3 {
			net_boost,label="USB";
			net_boost,node="rndis0";
			net_boost,table_size = <1>;
			net_boost,table= < 1 0 0 0 0 0 0 0 1 >;
		};
		boot_device@4 {
			net_boost,label="CLAT";
			net_boost,node="clat clat4 v4-rmnet0 v4-rmnet1 v4-rmnet2 v4-rmnet3 v4-rmnet4 v4-rmnet5 v4-rmnet6 v4-rmnet7";
			net_boost,table_size = <3>;
			net_boost,table= <120 1400000 0 0 0 825000 0 0 0
				130 1500000 0 0 0 825000 0 0 0
				150 1600000 0 0 0 825000 0 0 0>;
		};
		boot_device@5 {
			net_boost,label="WIFI";
			net_boost,node="wlan0";
			net_boost,table_size = <1>;
			net_boost,table= <
				60 0 0 0 0 0 0 1 1
				>;
		 };
		boot_device@6 {
			net_boost,label="WIFI TX";
			net_boost,node="wlan0";
			net_boost,table_size = <3>;
			net_boost,table= <
				20 1000000 0 1000000 0 200000 0 0 0
				60 1600000 0 1600000 0 825000 100000 1 1
				120 1600000 0 1600000 0 825000 100000 1 1
				>;
		 };
		boot_device@7 {
			net_boost,label="WIFI RX";
			net_boost,node="wlan0";
			net_boost,table_size = <2>;
			net_boost,table= <
				80 1400000 0 1400000 0 825000 100000 1 1
				120 1600000 0 1600000 0 825000 100000 1 1
				>;
		 };
		/* Example
		   boot_device@2 {
		   net_boost,label="EMMC";
		   net_boost,node="";
		   net_boost,sysnode="/sys/class/mmc_host/mmc0/trans_count";
		   net_boost,table_size = <1>;
		   net_boost,table= <64 0 0 1300000 0 825000 400000 0 0>;
		   };
		   boot_device@3 {
		   net_boost,label="WIFI";
		   net_boost,node="wlan0";
		   net_boost,table_size = <3>;
		   net_boost,table= <60 1000000 0 800000 0 0 200000 0 0
		   100 1200000 0 1000000 0 0 200000 0 0
		   180 1700000 0 1100000 0 543000 267000 0 0>;
		   };
		   boot_device@4 {
		   net_boost,label="P2P";
		   net_boost,node="p2p-wlan0-0";
		   net_boost,table_size = <3>;
		   net_boost,table= <30 1000000 0 800000 0 0 200000 0 0
		   50 1200000 0 1000000 0 0 200000 0 0
		   90 1700000 0 1100000 0 543000 267000 0 0>;
		   };
		   boot_device@5 {
		   net_boost,label="CLAT";
		   net_boost,node="clat clat4";
		   net_boost,table_size = <3>;
		   net_boost,table= <120 1400000 0 0 0 825000 0 0 0
		   130 1500000 0 0 0 825000 0 0 0
		   150 1600000 0 0 0 825000 0 0 0>;
		   };
		 */
	};




	sec_thermistor@0 {
		compatible = "samsung,sec-ap-thermistor";
		status = "okay";

		adc_array = <289 301 313 324 336 348 360 372 383 395
				407 423 438 454 470 486 501 517 533 548
				564 586 607 629 651 673 694 716 738 759
				781 805 828 852 875 899 930 961 992 1023
				1054 1087 1120 1154 1187 1220 1255 1289 1324 1358
				1393 1433 1472 1512 1551 1591 1631 1670 1710 1749
				1789 1832 1875 1918 1961 2004 2047 2090 2133 2176
				2219 2264 2309 2355 2400 2445 2490 2535 2581 2626
				2671 2708 2745 2782 2819 2856 2892 2929 2966 3003
				3040 3070 3100 3130 3160 3190 3216 3242 3267 3293
				3319 3341 3363 3384 3406 3428 3446 3463 3481 3498 3516>;
		temp_array = <900 890 880 870 860 850 840 830 820 810
					   800 790 780 770 760 750 740 730 720 710
					   700 690 680 670 660 650 640 630 620 610
					   600 590 580 570 560 550 540 530 520 510
					   500 490 480 470 460 450 440 430 420 410
					   400 390 380 370 360 350 340 330 320 310
					   300 290 280 270 260 250 240 230 220 210
					   200 190 180 170 160 150 140 130 120 110
					   100 90 80 70 60 50 40 30 20 10
					   0 (-10) (-20) (-30) (-40) (-50) (-60) (-70) (-80) (-90)
					   (-100) (-110) (-120) (-130) (-140) (-150) (-160) (-170) (-180) (-190) (-200)>;
		io-channels = <&exynos_adc 0>;
		io-channel-names = "adc-ap-temp";
		io-channel-ranges;
	};

	gpio_detect {
		status = "okay";
		compatible = "gpio_detect";
		pinctrl-names = "default";
		pinctrl-0 = <&gpiodetect_irq>;
		gpios = <&gpa3 4 0	/*VRECT_EN*/>;
	};
};
